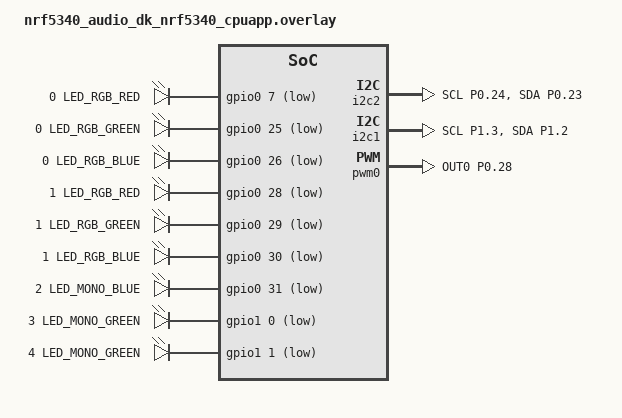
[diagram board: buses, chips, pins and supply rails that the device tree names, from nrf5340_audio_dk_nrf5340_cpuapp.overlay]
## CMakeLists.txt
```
cmake_minimum_required(VERSION 3.20.0)
find_package(Zephyr REQUIRED HINTS $ENV{ZEPHYR_BASE})

project(untitled)

target_sources(app PRIVATE src/main.c)

target_sources(app PRIVATE src/pmic.c)

target_sources(app PRIVATE src/i2c_helpers.c)
```

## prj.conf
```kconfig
CONFIG_GPIO=y

CONFIG_I2C=y

CONFIG_LOG=y

CONFIG_SERIAL=y

CONFIG_PWM=y
```

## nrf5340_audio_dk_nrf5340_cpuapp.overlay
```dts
&{/} {
    leds {
        compatible = "gpio-leds";

        rgb1_red: led_0 {
			gpios = <&gpio0 7 (GPIO_ACTIVE_LOW | GPIO_OPEN_DRAIN)>;
			label = "0 LED_RGB_RED";
		};

		rgb1_green: led_1 {
			gpios = <&gpio0 25 (GPIO_ACTIVE_LOW | GPIO_OPEN_DRAIN)>;
			label = "0 LED_RGB_GREEN";
		};

		rgb1_blue: led_2 {
			gpios = <&gpio0 26 (GPIO_ACTIVE_LOW | GPIO_OPEN_DRAIN)>;
			label = "0 LED_RGB_BLUE";
		};

		rgb2_red: led_3 {
			gpios = <&gpio0 28 (GPIO_ACTIVE_LOW | GPIO_OPEN_DRAIN)>;
			label = "1 LED_RGB_RED";
		};

		rgb2_green: led_4 {
			gpios = <&gpio0 29 (GPIO_ACTIVE_LOW | GPIO_OPEN_DRAIN)>;
			label = "1 LED_RGB_GREEN";
		};

		rgb2_blue: led_5 {
			gpios = <&gpio0 30 (GPIO_ACTIVE_LOW | GPIO_OPEN_DRAIN)>;
			label = "1 LED_RGB_BLUE";
		};

		led1_blue: led_6 {
			gpios = <&gpio0 31 (GPIO_ACTIVE_LOW | GPIO_OPEN_DRAIN)>;
			label = "2 LED_MONO_BLUE";
		};

		led2_green: led_7 {
			gpios = <&gpio1 0 (GPIO_ACTIVE_LOW | GPIO_OPEN_DRAIN)>;
			label = "3 LED_MONO_GREEN";
		};

		led3_green: led_8 {
			gpios = <&gpio1 1 (GPIO_ACTIVE_LOW | GPIO_OPEN_DRAIN)>;
			label = "4 LED_MONO_GREEN";
		};
    };
};

&i2c2 {
    status = "okay";
    pinctrl-0 = <&i2c2_default>;
    pinctrl-1 = <&i2c2_sleep>;
    pinctrl-names = "default", "sleep";
};

&pinctrl {
    i2c2_default: i2c2_default {
        group1 {
            psels = <NRF_PSEL(TWIM_SCL, 0, 24)>, <NRF_PSEL(TWIM_SDA, 0, 23)>;
        };
    };

    i2c2_sleep: i2c2_sleep {
        group1 {
            psels = <NRF_PSEL(TWIM_SCL, 0, 24)>, <NRF_PSEL(TWIM_SDA, 0, 23)>;
        };
    };
};

&i2c1 {
    status = "okay";
    pinctrl-0 = <&i2c1_default>;
    pinctrl-1 = <&i2c1_sleep>;
    pinctrl-names = "default", "sleep";
};

&pinctrl {
    i2c1_default: i2c1_default {
        group1 {
            psels = <NRF_PSEL(TWIM_SCL, 1, 3)>,
                    <NRF_PSEL(TWIM_SDA, 1, 2)>;
        };
    };

    i2c1_sleep: i2c1_sleep {
        group1 {
            psels = <NRF_PSEL(TWIM_SCL, 1, 3)>,
                    <NRF_PSEL(TWIM_SDA, 1, 2)>;
        };
    };
};

&pwm0 {
    status = "okay";
    pinctrl-0 = <&pwm0_mclk_default>;
    pinctrl-1 = <&pwm0_mclk_sleep>;
    pinctrl-names = "default", "sleep";
};

&pinctrl {
    pwm0_mclk_default: pwm0_mclk_default {
        group1 {
            psels = <NRF_PSEL(PWM_OUT0, 0, 28)>; /* your MCLK pin */
        };
    };

    pwm0_mclk_sleep: pwm0_mclk_sleep {
        group1 {
            psels = <NRF_PSEL(PWM_OUT0, 0, 28)>;
            low-power-enable;
        };
    };
};
```

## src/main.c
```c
#include <zephyr/kernel.h>
#include <zephyr/drivers/i2c.h>
#include <zephyr/sys/printk.h>
#include "pmic.h"
#include "i2c_helpers.h"
#include <zephyr/drivers/pwm.h>

#define SGTL5000_ADDR 0x0A

const struct device *codec = DEVICE_DT_GET(DT_NODELABEL(i2c1));

const struct device *pwm = DEVICE_DT_GET(DT_NODELABEL(pwm0));

int start_mclk(void)
{
    uint32_t period_ns = 62;   // ~16 MHz (62.5 ns)
    uint32_t pulse_ns  = 31;   // 50%

    return pwm_set(pwm, 0, period_ns, pulse_ns, PWM_POLARITY_NORMAL);
}

void i2c_scan(void)
{
    printk("Scanning I2C bus...\n");
    for (uint8_t addr = 0x08; addr < 0x78; addr++) {
        uint8_t dummy;
        int ret = i2c_read(codec, &dummy, 1, addr);
        if (ret == 0) {
            printk("  Found device at 0x%02X\n", addr);
        }
    }
    printk("Scan done.\n");
}

int main(void)
{
    int ret = pmic_init();

    /*
    if (ret) {
        return 0;
    }

    pmic_debug_dump();

    pmic_led_on(0);

    if (!device_is_ready(pwm)) {
        printk("PWM device not ready\n");
        return -1;
    }

    ret = start_mclk();
    if (ret < 0) {
        printk("Failed to start MCLK: %d\n", ret);
        return ret;
    }

    printk("MCLK 16 MHz started\n");

    k_msleep(50);

    uint16_t val;

    ret = i2c_reg_read16_16(codec, SGTL5000_ADDR, 0x0000, &val);

    if (ret == 0) {
        printk("SGTL5000 detected! CHIP_ID=0x%04X\n", val);
    } else {
        printk("SGTL5000 not responding (%d)\n", ret);
    }

    i2c_scan();
    */
    while (1) {
        k_msleep(1000);
        //printk("Very long text to test uart blinking you know man, no hard feelings\n");
    }
}
```
